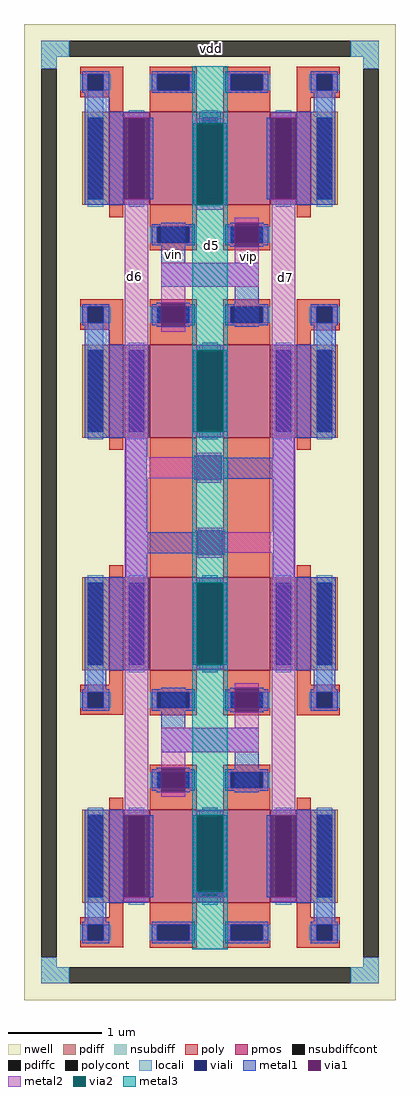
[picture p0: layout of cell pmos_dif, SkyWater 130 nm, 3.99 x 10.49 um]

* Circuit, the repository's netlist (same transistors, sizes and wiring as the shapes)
** sch_path: /home/ahmadjabar/project/opamp/mag/pmos_dif.sch
.subckt pmos_dif d5 vdd vip vin d7 d6
*.PININFO vin:I vip:I vdd:B d6:B d5:B d7:B
XM6 d6 vin d5 vdd sky130_fd_pr__pfet_01v8 L=0.5 W=1 nf=1 m=4
XM7 d7 vip d5 vdd sky130_fd_pr__pfet_01v8 L=0.5 W=1 nf=1 m=4
XM1 d7 d7 d7 vdd sky130_fd_pr__pfet_01v8 L=0.15 W=1 nf=1 m=4
XM2 d6 d6 d6 vdd sky130_fd_pr__pfet_01v8 L=0.15 W=1 nf=1 m=4
.ends
.end

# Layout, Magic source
magic
tech sky130A
magscale 1 2
<< nwell >>
rect -176 -1609 622 489
<< nsubdiff >>
rect -140 419 -80 453
rect 526 419 586 453
rect -140 393 -106 419
rect 552 393 586 419
rect -140 -1539 -106 -1517
rect 552 -1539 586 -1517
rect -140 -1573 -80 -1539
rect 526 -1573 586 -1539
<< nsubdiffcont >>
rect -80 419 526 453
rect -140 -1517 -106 393
rect 552 -1517 586 393
rect -80 -1573 526 -1539
<< poly >>
rect -56 381 36 397
rect -56 347 -40 381
rect -6 347 36 381
rect -56 332 36 347
rect 6 326 36 332
rect 410 381 502 397
rect 410 347 452 381
rect 486 347 502 381
rect 410 331 502 347
rect 410 325 440 331
rect -56 -119 36 -103
rect -56 -153 -40 -119
rect -6 -153 36 -119
rect -56 -168 36 -153
rect 6 -174 36 -168
rect 410 -119 502 -103
rect 410 -153 452 -119
rect 486 -153 502 -119
rect 410 -169 502 -153
rect 410 -174 440 -169
rect 94 -674 194 -426
rect 252 -674 352 -426
rect 6 -931 36 -926
rect -56 -947 36 -931
rect -56 -981 -40 -947
rect -6 -981 36 -947
rect -56 -996 36 -981
rect 410 -931 440 -926
rect 410 -947 502 -931
rect 410 -981 452 -947
rect 486 -981 502 -947
rect 410 -997 502 -981
rect 6 -1431 36 -1425
rect -56 -1447 36 -1431
rect -56 -1481 -40 -1447
rect -6 -1481 36 -1447
rect -56 -1496 36 -1481
rect 410 -1431 440 -1422
rect 410 -1447 502 -1431
rect 410 -1481 452 -1447
rect 486 -1481 502 -1447
rect 410 -1497 502 -1481
<< polycont >>
rect -40 347 -6 381
rect 452 347 486 381
rect -40 -153 -6 -119
rect 452 -153 486 -119
rect -40 -981 -6 -947
rect 452 -981 486 -947
rect -40 -1481 -6 -1447
rect 452 -1481 486 -1447
<< locali >>
rect -140 419 -80 453
rect 526 419 586 453
rect -140 393 -106 419
rect 552 393 586 419
rect -56 347 -40 381
rect -6 347 10 381
rect 436 347 452 381
rect 486 347 502 381
rect -40 303 -6 347
rect 452 304 486 347
rect -56 -153 -40 -119
rect -6 -153 10 -119
rect 436 -153 452 -119
rect 486 -153 502 -119
rect -40 -198 -6 -153
rect 452 -196 486 -153
rect -40 -947 -6 -904
rect 452 -947 486 -904
rect -56 -981 -40 -947
rect -6 -981 10 -947
rect 436 -981 452 -947
rect 486 -981 502 -947
rect -40 -1447 -6 -1404
rect 452 -1447 486 -1404
rect -56 -1481 -40 -1447
rect -6 -1481 10 -1447
rect 436 -1481 452 -1447
rect 486 -1481 502 -1447
rect -140 -1539 -106 -1517
rect 552 -1539 586 -1517
rect -140 -1573 -80 -1539
rect 526 -1573 586 -1539
<< viali >>
rect -40 347 -6 381
rect 452 347 486 381
rect -40 -153 -6 -119
rect 452 -153 486 -119
rect -40 -981 -6 -947
rect 452 -981 486 -947
rect -40 -1481 -6 -1447
rect 452 -1481 486 -1447
<< metal1 >>
rect -52 381 6 387
rect -52 347 -40 381
rect -6 347 6 381
rect -52 341 6 347
rect 440 381 498 387
rect 440 347 452 381
rect 486 347 498 381
rect 440 341 498 347
rect -46 300 6 341
rect 446 300 492 341
rect -46 288 91 300
rect -46 112 39 288
rect 91 112 101 288
rect 200 276 246 289
rect 355 288 492 300
rect -46 100 91 112
rect 187 100 197 276
rect 249 100 259 276
rect 345 112 355 288
rect 407 112 492 288
rect 355 100 492 112
rect 118 -24 170 62
rect 266 10 276 62
rect 328 10 338 62
rect 118 -76 328 -24
rect -52 -119 6 -113
rect -52 -153 -40 -119
rect -6 -153 6 -119
rect -52 -159 6 -153
rect -46 -200 6 -159
rect 108 -162 118 -110
rect 170 -162 180 -110
rect 276 -162 328 -76
rect 440 -119 498 -113
rect 440 -153 452 -119
rect 486 -153 498 -119
rect 440 -159 498 -153
rect 446 -200 493 -159
rect -46 -400 91 -200
rect 200 -212 246 -200
rect 187 -388 197 -212
rect 249 -388 259 -212
rect 200 -400 246 -388
rect 356 -400 493 -200
rect 42 -604 87 -400
rect 189 -491 195 -439
rect 247 -443 253 -439
rect 359 -443 404 -400
rect 247 -488 404 -443
rect 247 -491 253 -488
rect 191 -604 197 -600
rect 42 -649 197 -604
rect 42 -700 87 -649
rect 191 -652 197 -649
rect 249 -652 255 -600
rect 359 -700 404 -488
rect -46 -900 91 -700
rect 200 -712 246 -700
rect 187 -888 197 -712
rect 249 -888 259 -712
rect 356 -900 493 -700
rect -46 -941 0 -900
rect -52 -947 6 -941
rect -52 -981 -40 -947
rect -6 -981 6 -947
rect -52 -987 6 -981
rect 118 -1024 170 -938
rect 266 -990 276 -938
rect 328 -990 338 -938
rect 446 -941 492 -900
rect 440 -947 498 -941
rect 440 -981 452 -947
rect 486 -981 498 -947
rect 440 -987 498 -981
rect 118 -1076 328 -1024
rect 108 -1162 118 -1110
rect 170 -1162 180 -1110
rect 276 -1162 328 -1076
rect -46 -1212 91 -1200
rect 200 -1212 246 -1200
rect 355 -1212 492 -1200
rect -46 -1388 39 -1212
rect 91 -1388 101 -1212
rect 187 -1388 197 -1212
rect 249 -1388 259 -1212
rect 345 -1388 355 -1212
rect 407 -1388 492 -1212
rect -46 -1400 91 -1388
rect 200 -1400 246 -1388
rect 355 -1400 492 -1388
rect -46 -1441 0 -1400
rect 446 -1441 492 -1400
rect -52 -1447 6 -1441
rect -52 -1481 -40 -1447
rect -6 -1481 6 -1447
rect -52 -1487 6 -1481
rect 440 -1447 498 -1441
rect 440 -1481 452 -1447
rect 486 -1481 498 -1447
rect 440 -1487 498 -1481
<< via1 >>
rect 39 112 91 288
rect 197 100 249 276
rect 355 112 407 288
rect 276 10 328 62
rect 118 -162 170 -110
rect 197 -388 249 -212
rect 195 -491 247 -439
rect 197 -652 249 -600
rect 197 -888 249 -712
rect 276 -990 328 -938
rect 118 -1162 170 -1110
rect 39 -1388 91 -1212
rect 197 -1388 249 -1212
rect 355 -1388 407 -1212
<< metal2 >>
rect 39 288 91 298
rect 355 288 407 298
rect 39 102 91 112
rect 195 276 251 286
rect 40 -442 90 102
rect 355 102 407 112
rect 195 90 251 100
rect 276 62 328 72
rect 276 -24 328 10
rect 118 -76 328 -24
rect 118 -110 170 -76
rect 118 -172 170 -162
rect 195 -212 251 -202
rect 195 -398 251 -388
rect 195 -439 247 -433
rect 40 -487 195 -442
rect 40 -1202 90 -487
rect 195 -497 247 -491
rect 197 -600 249 -594
rect 356 -603 406 102
rect 249 -648 406 -603
rect 197 -658 249 -652
rect 195 -712 251 -702
rect 195 -898 251 -888
rect 276 -938 328 -928
rect 276 -1024 328 -990
rect 118 -1076 328 -1024
rect 118 -1110 170 -1076
rect 118 -1172 170 -1162
rect 356 -1202 406 -648
rect 39 -1212 91 -1202
rect 39 -1398 91 -1388
rect 195 -1212 251 -1202
rect 195 -1388 197 -1376
rect 249 -1388 251 -1376
rect 195 -1398 251 -1388
rect 355 -1212 407 -1202
rect 355 -1398 407 -1388
<< via2 >>
rect 195 100 197 276
rect 197 100 249 276
rect 249 100 251 276
rect 195 -388 197 -212
rect 197 -388 249 -212
rect 249 -388 251 -212
rect 195 -888 197 -712
rect 197 -888 249 -712
rect 249 -888 251 -712
rect 195 -1376 197 -1212
rect 197 -1376 249 -1212
rect 249 -1376 251 -1212
<< metal3 >>
rect 185 276 261 398
rect 185 100 195 276
rect 251 100 261 276
rect 185 -212 261 100
rect 185 -388 195 -212
rect 251 -388 261 -212
rect 185 -712 261 -388
rect 185 -888 195 -712
rect 251 -888 261 -712
rect 185 -1212 261 -888
rect 185 -1376 195 -1212
rect 251 -1376 261 -1212
rect 185 -1500 261 -1376
use sky130_fd_pr__pfet_01v8_2XUZHN  sky130_fd_pr__pfet_01v8_2XUZHN_0
transform 1 0 21 0 1 -1300
box -109 -162 109 162
use sky130_fd_pr__pfet_01v8_2XUZHN  sky130_fd_pr__pfet_01v8_2XUZHN_1
transform 1 0 425 0 1 -300
box -109 -162 109 162
use sky130_fd_pr__pfet_01v8_2XUZHN  sky130_fd_pr__pfet_01v8_2XUZHN_2
transform 1 0 21 0 1 -300
box -109 -162 109 162
use sky130_fd_pr__pfet_01v8_2XUZHN  sky130_fd_pr__pfet_01v8_2XUZHN_3
transform 1 0 21 0 1 -800
box -109 -162 109 162
use sky130_fd_pr__pfet_01v8_2XUZHN  sky130_fd_pr__pfet_01v8_2XUZHN_4
transform 1 0 21 0 1 200
box -109 -162 109 162
use sky130_fd_pr__pfet_01v8_2XUZHN  sky130_fd_pr__pfet_01v8_2XUZHN_5
transform 1 0 425 0 1 200
box -109 -162 109 162
use sky130_fd_pr__pfet_01v8_2XUZHN  sky130_fd_pr__pfet_01v8_2XUZHN_6
transform 1 0 425 0 1 -1300
box -109 -162 109 162
use sky130_fd_pr__pfet_01v8_2XUZHN  sky130_fd_pr__pfet_01v8_2XUZHN_7
transform 1 0 425 0 1 -800
box -109 -162 109 162
use sky130_fd_pr__pfet_01v8_BHVYY6  sky130_fd_pr__pfet_01v8_BHVYY6_0
transform 1 0 223 0 1 -1300
box -223 -200 223 200
use sky130_fd_pr__pfet_01v8_BHVYY6  sky130_fd_pr__pfet_01v8_BHVYY6_1
transform 1 0 223 0 1 200
box -223 -200 223 200
use sky130_fd_pr__pfet_01v8_C6L7Y6  sky130_fd_pr__pfet_01v8_C6L7Y6_0
transform 1 0 223 0 1 -836
box -223 -164 223 198
use sky130_fd_pr__pfet_01v8_XLJ7Y8  sky130_fd_pr__pfet_01v8_XLJ7Y8_0
transform 1 0 223 0 1 -264
box -223 -198 223 164
<< labels >>
flabel nsubdiffcont 226 436 226 438 0 FreeSans 160 0 0 0 vdd
port 0 nsew
flabel metal2 60 -54 60 -52 0 FreeSans 160 0 0 0 d6
port 1 nsew
flabel metal2 386 -56 386 -54 0 FreeSans 160 0 0 0 d7
port 2 nsew
flabel metal3 226 12 226 14 0 FreeSans 160 0 0 0 d5
port 3 nsew
flabel metal1 144 -8 144 -6 0 FreeSans 160 0 0 0 vin
port 4 nsew
flabel metal2 306 -12 306 -10 0 FreeSans 160 0 0 0 vip
port 5 nsew
<< end >>

# cell sky130_fd_pr__pfet_01v8_2XUZHN: kit device sky130_fd_pr__pfet_01v8, w 1 l 0.15 m 1 nf 1 diffcov 100 polycov 100 guard 0 glc 1 grc 1 gtc 1 gbc 1 tbcov 100 rlcov 100 topc 0 botc 0 poverlap 0 doverlap 1 lmin 0.15 wmin 0.42 compatible {sky130_fd_pr__pfet_01v8 sky130_fd_pr__pfet_01v8_lvt sky130_fd_pr__pfet_01v8_hvt sky130_fd_pr__pfet_g5v0d10v5} full_metal 1 viasrc 100 viadrn 100 viagate 100 viagb 0 viagr 0 viagl 0 viagt 0

# cell sky130_fd_pr__pfet_01v8_BHVYY6: kit device sky130_fd_pr__pfet_01v8, w 1 l 0.5 m 1 nf 2 diffcov 100 polycov 100 guard 0 glc 1 grc 1 gtc 1 gbc 1 tbcov 100 rlcov 100 topc 1 botc 1 poverlap 0 doverlap 1 lmin 0.15 wmin 0.42 compatible {sky130_fd_pr__pfet_01v8 sky130_fd_pr__pfet_01v8_lvt sky130_fd_pr__pfet_01v8_hvt sky130_fd_pr__pfet_g5v0d10v5} full_metal 1 viasrc 100 viadrn 100 viagate 100 viagb 0 viagr 0 viagl 0 viagt 0

# cell sky130_fd_pr__pfet_01v8_C6L7Y6: kit device sky130_fd_pr__pfet_01v8, w 1 l 0.5 m 1 nf 2 diffcov 100 polycov 100 guard 0 glc 1 grc 1 gtc 1 gbc 1 tbcov 100 rlcov 100 topc 0 botc 1 poverlap 0 doverlap 1 lmin 0.15 wmin 0.42 compatible {sky130_fd_pr__pfet_01v8 sky130_fd_pr__pfet_01v8_lvt sky130_fd_pr__pfet_01v8_hvt sky130_fd_pr__pfet_g5v0d10v5} full_metal 1 viasrc 100 viadrn 100 viagate 100 viagb 0 viagr 0 viagl 0 viagt 0

# cell sky130_fd_pr__pfet_01v8_XLJ7Y8: kit device sky130_fd_pr__pfet_01v8, w 1 l 0.5 m 1 nf 2 diffcov 100 polycov 100 guard 0 glc 1 grc 1 gtc 1 gbc 1 tbcov 100 rlcov 100 topc 1 botc 0 poverlap 0 doverlap 1 lmin 0.15 wmin 0.42 compatible {sky130_fd_pr__pfet_01v8 sky130_fd_pr__pfet_01v8_lvt sky130_fd_pr__pfet_01v8_hvt sky130_fd_pr__pfet_g5v0d10v5} full_metal 1 viasrc 100 viadrn 100 viagate 100 viagb 0 viagr 0 viagl 0 viagt 0
